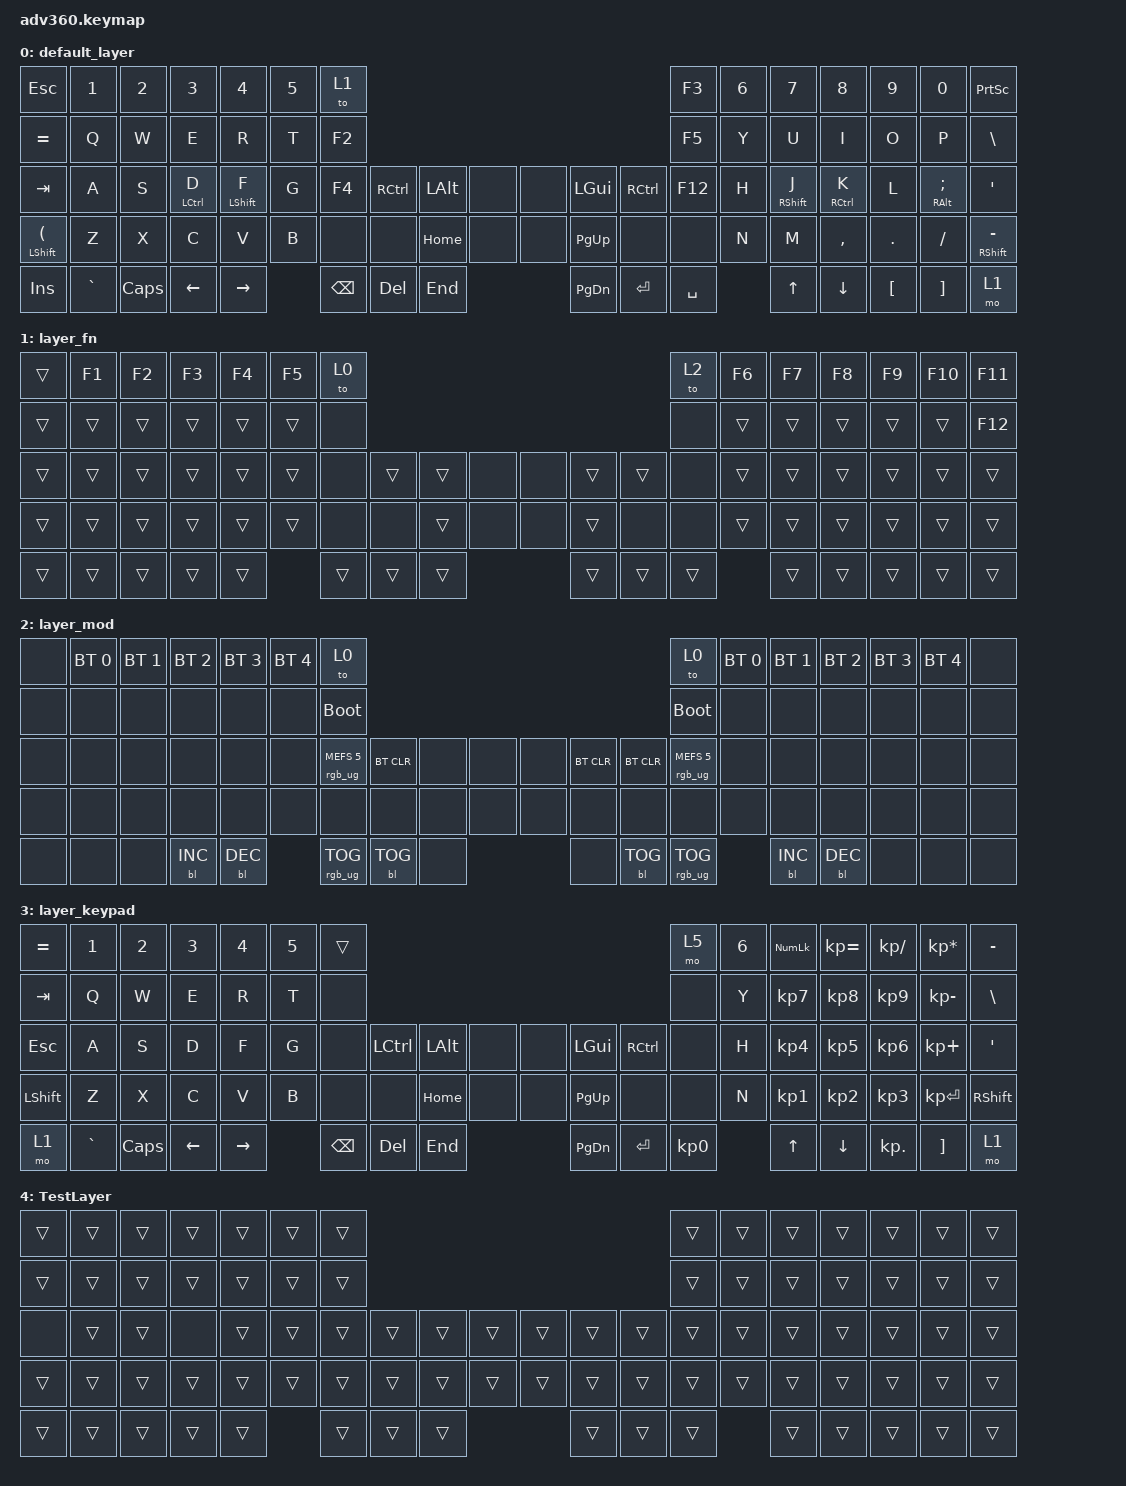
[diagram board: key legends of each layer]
/*
 * Copyright (c) 2020 The ZMK Contributors
 *
 * SPDX-License-Identifier: MIT
 */
/* THIS FILE WAS GENERATED!
 *
 * This file was generated automatically. You may or may not want to
 * edit it directly.
 */

#include <behaviors.dtsi>
#include <dt-bindings/zmk/backlight.h>
#include <dt-bindings/zmk/bt.h>
#include <dt-bindings/zmk/keys.h>
#include <dt-bindings/zmk/rgb.h>

/ {
    behaviors {
        #include "macros.dtsi"

        hm: homerow_mods {
            compatible = "zmk,behavior-hold-tap";
            label = "HOMEROW_MODS";
            #binding-cells = <2>;
            tapping-term-ms = <200>;
            flavor = "balanced";
            bindings = <&kp>, <&kp>;
        };

        hm_hold: hm_hold {
            compatible = "zmk,behavior-hold-tap";
            label = "HM_HOLD";
            #binding-cells = <2>;
            tapping-term-ms = <200>;
            flavor = "balanced";
            bindings = <&kp>, <&kp>;
        };
    };

    keymap {
        compatible = "zmk,keymap";

        default_layer {
            bindings = <
&kp ESC                          &kp N1     &kp N2        &kp N3            &kp N4                 &kp N5  &to 1                                                                      &kp F3     &kp N6  &kp N7                  &kp N8            &kp N9    &kp N0              &kp PRINTSCREEN
&kp EQUAL                        &kp Q      &kp W         &kp E             &kp R                  &kp T   &kp F2                                                                     &kp F5     &kp Y   &kp U                   &kp I             &kp O     &kp P               &kp BSLH
&kp TAB                          &kp A      &kp S         &hm_hold LCTRL D  &hm_hold LEFT_SHIFT F  &kp G   &kp F4    &kp RIGHT_CONTROL  &kp LALT  &none  &none  &kp LGUI   &kp RCTRL  &kp F12    &kp H   &hm_hold RIGHT_SHIFT J  &hm_hold RCTRL K  &kp L     &hm RIGHT_ALT SEMI  &kp SQT
&hm LEFT_SHIFT LEFT_PARENTHESIS  &kp Z      &kp X         &kp C             &kp V                  &kp B   &none     &none              &kp HOME  &none  &none  &kp PG_UP  &none      &none      &kp N   &kp M                   &kp COMMA         &kp DOT   &kp FSLH            &hm_hold RIGHT_SHIFT MINUS
&kp INS                          &kp GRAVE  &kp CAPSLOCK  &kp LEFT          &kp RIGHT                      &kp BSPC  &kp DEL            &kp END                 &kp PG_DN  &kp ENTER  &kp SPACE          &kp UP                  &kp DOWN          &kp LBKT  &kp RBKT            &mo 1
            >;
        };

        layer_fn {
            bindings = <
&trans  &kp F1  &kp F2  &kp F3  &kp F4  &kp F5  &to 0                                                 &to 2   &kp F6  &kp F7  &kp F8  &kp F9  &kp F10  &kp F11
&trans  &trans  &trans  &trans  &trans  &trans  &none                                                 &none   &trans  &trans  &trans  &trans  &trans   &kp F12
&trans  &trans  &trans  &trans  &trans  &trans  &none   &trans  &trans  &none  &none  &trans  &trans  &none   &trans  &trans  &trans  &trans  &trans   &trans
&trans  &trans  &trans  &trans  &trans  &trans  &none   &none   &trans  &none  &none  &trans  &none   &none   &trans  &trans  &trans  &trans  &trans   &trans
&trans  &trans  &trans  &trans  &trans          &trans  &trans  &trans                &trans  &trans  &trans          &trans  &trans  &trans  &trans   &trans
            >;
        };

        layer_mod {
            bindings = <
&none  &bt BT_SEL 0  &bt BT_SEL 1  &bt BT_SEL 2  &bt BT_SEL 3  &bt BT_SEL 4  &to 0                                                                            &to 0                   &bt BT_SEL 0  &bt BT_SEL 1  &bt BT_SEL 2  &bt BT_SEL 3  &bt BT_SEL 4  &none
&none  &none         &none         &none         &none         &none         &bootloader                                                                      &bootloader             &none         &none         &none         &none         &none         &none
&none  &none         &none         &none         &none         &none         &rgb_ug RGB_MEFS_CMD 5  &bt BT_CLR  &none  &none  &none  &bt BT_CLR  &bt BT_CLR  &rgb_ug RGB_MEFS_CMD 5  &none         &none         &none         &none         &none         &none
&none  &none         &none         &none         &none         &none         &none                   &none       &none  &none  &none  &none       &none       &none                   &none         &none         &none         &none         &none         &none
&none  &none         &none         &bl BL_INC    &bl BL_DEC                  &rgb_ug RGB_TOG         &bl BL_TOG  &none                &none       &bl BL_TOG  &rgb_ug RGB_TOG                       &bl BL_INC    &bl BL_DEC    &none         &none         &none
            >;
        };

        layer_keypad {
            bindings = <
&kp EQUAL  &kp N1     &kp N2    &kp N3    &kp N4     &kp N5  &trans                                                             &mo 5      &kp N6  &kp KP_NUM  &kp KP_EQUAL  &kp KP_DIVIDE  &kp KP_MULTIPLY  &kp MINUS
&kp TAB    &kp Q      &kp W     &kp E     &kp R      &kp T   &none                                                              &none      &kp Y   &kp KP_N7   &kp KP_N8     &kp KP_N9      &kp KP_MINUS     &kp BSLH
&kp ESC    &kp A      &kp S     &kp D     &kp F      &kp G   &none     &kp LCTRL  &kp LALT  &none  &none  &kp LGUI   &kp RCTRL  &none      &kp H   &kp KP_N4   &kp KP_N5     &kp KP_N6      &kp KP_PLUS      &kp SQT
&kp LSHFT  &kp Z      &kp X     &kp C     &kp V      &kp B   &none     &none      &kp HOME  &none  &none  &kp PG_UP  &none      &none      &kp N   &kp KP_N1   &kp KP_N2     &kp KP_N3      &kp KP_ENTER     &kp RSHFT
&mo 1      &kp GRAVE  &kp CAPS  &kp LEFT  &kp RIGHT          &kp BSPC  &kp DEL    &kp END                 &kp PG_DN  &kp ENTER  &kp KP_N0          &kp UP      &kp DOWN      &kp KP_DOT     &kp RBKT         &mo 1
            >;
        };

        TestLayer {
            bindings = <
&trans  &trans  &trans  &trans  &trans  &trans  &trans                                                  &trans  &trans  &trans  &trans  &trans  &trans  &trans
&trans  &trans  &trans  &trans  &trans  &trans  &trans                                                  &trans  &trans  &trans  &trans  &trans  &trans  &trans
&none   &trans  &trans  &none   &trans  &trans  &trans  &trans  &trans  &trans  &trans  &trans  &trans  &trans  &trans  &trans  &trans  &trans  &trans  &trans
&trans  &trans  &trans  &trans  &trans  &trans  &trans  &trans  &trans  &trans  &trans  &trans  &trans  &trans  &trans  &trans  &trans  &trans  &trans  &trans
&trans  &trans  &trans  &trans  &trans          &trans  &trans  &trans                  &trans  &trans  &trans          &trans  &trans  &trans  &trans  &trans
            >;
        };
    };
};
